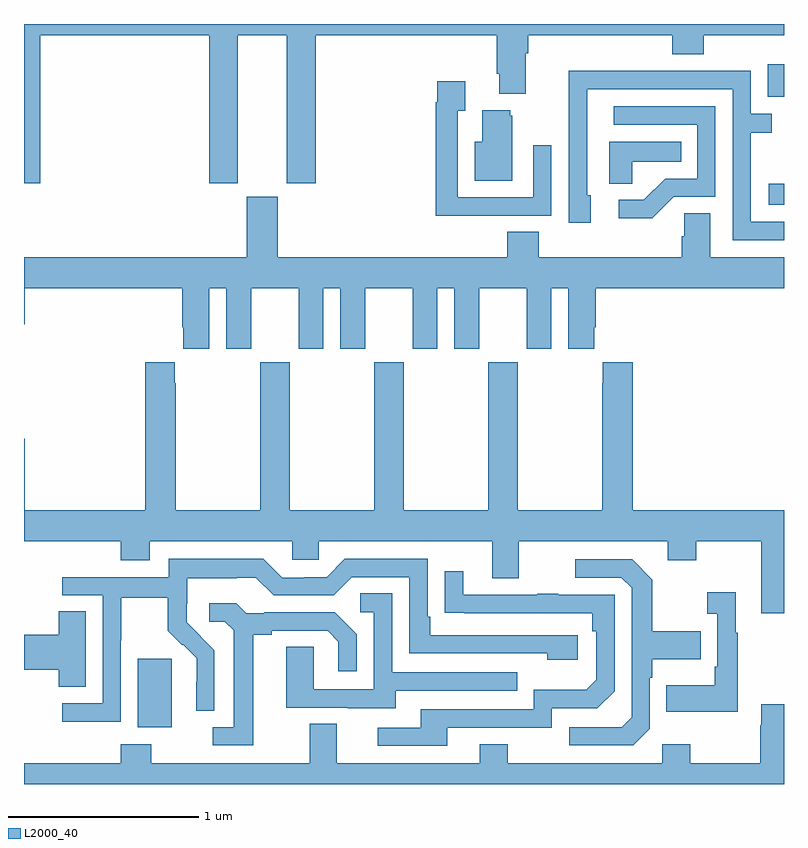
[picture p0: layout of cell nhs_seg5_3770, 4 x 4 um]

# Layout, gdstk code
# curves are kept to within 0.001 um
import gdstk
lib = gdstk.Library(unit=1e-6, precision=1e-09)
def R(c, l, rs):  # rectangles x0, y0, x1, y1
    for r in rs: c.add(gdstk.rectangle(r[:2], r[2:], *l))
def P(c, l, *ps):  # polygons
    for p in ps: c.add(gdstk.Polygon(p, *l))
L2000_40 = (2000, 40)

nhs_seg5_3770 = lib.new_cell('nhs_seg5_3770')
R(nhs_seg5_3770, L2000_40, [(333.599,873.098,333.778,873.459), (336.921,875.849,337,875.959), (336.915,876.417,337,876.586)])
P(nhs_seg5_3770, L2000_40, [(333.086,876.74),(333.974,876.74),(333.974,875.961),(334.126,875.961),(334.126,876.74),(334.382,876.74),(334.382,875.961),(334.535,875.961),(334.535,876.74),(335.489,876.74),(335.489,876.538),(335.501,876.538),(335.501,876.431),(335.641,876.431),(335.641,876.644),(335.654,876.644),(335.654,876.74),(336.413,876.74),(336.413,876.641),(336.578,876.641),(336.578,876.74),(337,876.74),(337,876.799),(333,876.799),(333,875.961),(333.086,875.961)],
  [(337,875.757),(336.825,875.757),(336.825,876.226),(336.935,876.226),(336.935,876.327),(336.825,876.327),(336.825,876.552),(336.329,876.552),(336.329,876.554),(335.866,876.554),(335.866,876.247),(335.868,876.247),(335.868,875.754),(335.983,875.754),(335.983,875.898),(335.964,875.898),(335.964,876.456),(336.729,876.456),(336.729,875.661),(337,875.661)],
  [(335.459,875.79),(335.775,875.79),(335.775,876.16),(335.679,876.16),(335.679,875.886),(335.283,875.886),(335.283,876.343),(335.323,876.343),(335.323,876.499),(335.175,876.499),(335.175,876.386),(335.167,876.386),(335.167,875.789),(335.459,875.789)],
  [(336.42,875.889),(336.639,875.889),(336.639,876.366),(336.105,876.366),(336.105,876.27),(336.543,876.27),(336.543,875.985),(336.374,875.985),(336.263,875.874),(336.129,875.874),(336.129,875.777),(336.307,875.777)],
  [(335.569,876.315),(335.558,876.315),(335.558,876.346),(335.411,876.346),(335.411,876.178),(335.372,876.178),(335.372,875.975),(335.569,875.975)],
  [(336.201,876.074),(336.458,876.074),(336.458,876.178),(336.08,876.178),(336.08,875.959),(336.201,875.959)],
  [(333,875.22),(333.004,875.22),(333.004,875.408),(333.833,875.408),(333.833,875.203),(333.839,875.203),(333.839,875.091),(333.976,875.091),(333.976,875.408),(334.064,875.408),(334.064,875.091),(334.195,875.091),(334.195,875.408),(334.445,875.408),(334.445,875.091),(334.576,875.091),(334.576,875.408),(334.664,875.408),(334.664,875.091),(334.795,875.091),(334.795,875.408),(335.045,875.408),(335.045,875.091),(335.176,875.091),(335.176,875.408),(335.264,875.408),(335.264,875.091),(335.395,875.091),(335.395,875.408),(335.645,875.408),(335.645,875.091),(335.776,875.091),(335.776,875.408),(335.864,875.408),(335.864,875.091),(336.001,875.091),(336.001,875.203),(336.008,875.203),(336.008,875.408),(337,875.408),(337,875.572),(336.613,875.572),(336.613,875.804),(336.474,875.804),(336.474,875.681),(336.461,875.681),(336.461,875.572),(335.708,875.572),(335.708,875.705),(335.543,875.705),(335.543,875.572),(334.336,875.572),(334.336,875.889),(334.172,875.889),(334.172,875.572),(333,875.572)],
  [(337,874.24),(336.203,874.24),(336.203,875.02),(336.047,875.02),(336.047,874.907),(336.043,874.907),(336.043,874.24),(335.598,874.24),(335.598,875.02),(335.443,875.02),(335.443,874.24),(334.998,874.24),(334.998,875.02),(334.843,875.02),(334.843,874.24),(334.398,874.24),(334.398,875.02),(334.243,875.02),(334.243,874.24),(333.798,874.24),(333.798,874.907),(333.793,874.907),(333.793,875.02),(333.638,875.02),(333.638,874.24),(333.004,874.24),(333.004,874.615),(333,874.615),(333,874.076),(333.509,874.076),(333.509,873.977),(333.661,873.977),(333.661,874.076),(334.413,874.076),(334.413,873.978),(334.551,873.978),(334.551,874.076),(335.465,874.076),(335.465,873.882),(335.605,873.882),(335.605,874.076),(336.389,874.076),(336.389,873.977),(336.537,873.977),(336.537,874.076),(336.881,874.076),(336.881,873.699),(337,873.699)],
  [(333.51,873.556),(333.513,873.556),(333.513,873.78),(333.757,873.78),(333.757,873.605),(333.834,873.528),(333.837,873.531),(333.908,873.461),(333.908,873.338),(333.906,873.338),(333.906,873.184),(334.002,873.184),(334.002,873.502),(333.856,873.65),(333.856,873.747),(333.858,873.747),(333.858,873.881),(334.121,873.881),(334.121,873.885),(334.221,873.885),(334.314,873.792),(334.629,873.792),(334.725,873.888),(335.028,873.888),(335.028,873.486),(335.753,873.486),(335.753,873.452),(335.914,873.452),(335.914,873.582),(335.137,873.582),(335.137,873.679),(335.124,873.679),(335.124,873.984),(334.689,873.984),(334.593,873.888),(334.475,873.888),(334.475,873.885),(334.359,873.885),(334.259,873.985),(333.762,873.985),(333.762,873.888),(333.201,873.888),(333.201,873.792),(333.414,873.792),(333.414,873.225),(333.201,873.225),(333.201,873.127),(333.51,873.127)],
  [(336.294,873.09),(336.294,873.359),(336.307,873.359),(336.307,873.455),(336.563,873.455),(336.563,873.603),(336.307,873.603),(336.307,873.875),(336.201,873.981),(335.901,873.981),(335.901,873.885),(336.144,873.885),(336.198,873.831),(336.198,873.15),(336.147,873.099),(335.871,873.099),(335.871,873.003),(336.207,873.003)],
  [(335.227,873.096),(335.778,873.096),(335.778,873.198),(336.018,873.198),(336.108,873.288),(336.108,873.795),(335.813,873.795),(335.813,873.8),(335.701,873.8),(335.701,873.795),(335.311,873.795),(335.311,873.919),(335.215,873.919),(335.215,873.7),(335.992,873.699),(335.992,873.602),(336.012,873.602),(336.012,873.348),(335.959,873.295),(335.682,873.295),(335.682,873.192),(335.087,873.192),(335.087,873.096),(334.863,873.096),(334.863,873),(335.227,873)],
  [(336.757,873.595),(336.745,873.595),(336.745,873.808),(336.597,873.808),(336.597,873.695),(336.648,873.695),(336.648,873.415),(336.636,873.415),(336.636,873.319),(336.379,873.319),(336.379,873.179),(336.757,873.179)],
  [(334.957,873.291),(335.597,873.291),(335.597,873.387),(334.938,873.387),(334.938,873.803),(334.77,873.803),(334.77,873.702),(334.842,873.702),(334.842,873.297),(334.524,873.297),(334.524,873.521),(334.379,873.521),(334.379,873.201),(334.703,873.201),(334.703,873.197),(334.957,873.197)],
  [(334.207,873.584),(334.303,873.584),(334.303,873.606),(334.598,873.606),(334.655,873.549),(334.655,873.393),(334.752,873.393),(334.752,873.586),(334.636,873.702),(334.264,873.702),(334.264,873.699),(334.17,873.699),(334.118,873.751),(333.975,873.751),(333.975,873.654),(334.056,873.654),(334.103,873.607),(334.103,873.099),(333.993,873.099),(333.993,873.003),(334.207,873.003)],
  [(333.325,873.707),(333.182,873.707),(333.182,873.584),(333,873.584),(333,873.401),(333.182,873.401),(333.182,873.31),(333.325,873.31)],
  [(337,873.22),(336.881,873.22),(336.881,873.107),(336.874,873.107),(336.874,872.908),(336.507,872.908),(336.507,873.007),(336.36,873.007),(336.36,872.908),(335.547,872.908),(335.547,873.007),(335.399,873.007),(335.399,872.908),(334.645,872.908),(334.645,873.116),(334.505,873.116),(334.505,872.908),(333.669,872.908),(333.669,873.007),(333.509,873.007),(333.509,872.908),(333,872.908),(333,872.799),(337,872.799)])

lib.write_gds('nhs_seg5_3770.gds')
